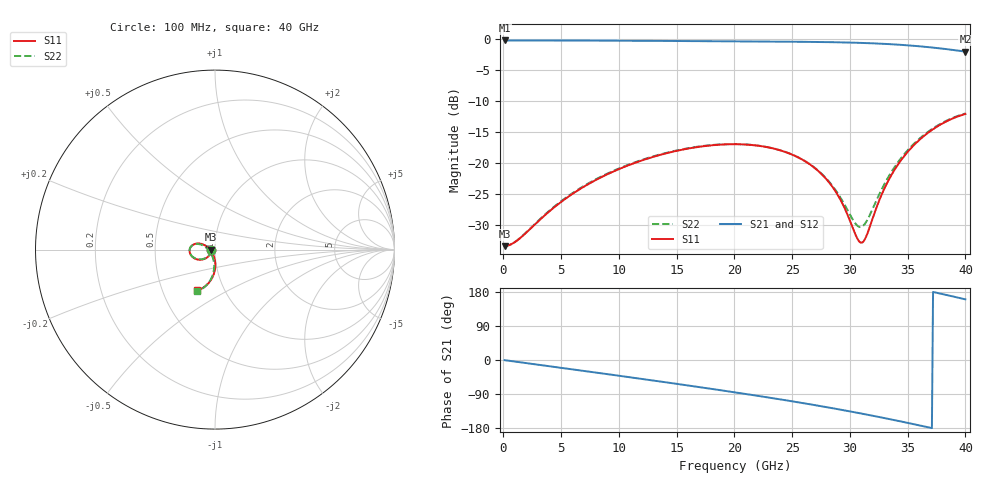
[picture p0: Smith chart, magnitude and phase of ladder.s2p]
! E_s8_L1L8_p1000_oval_g2: via ladder as kisi uses it (kisi_si::via_pbm, graded grid, junction model), differential mode (per line 50 ohm)
# Hz S RI R 50
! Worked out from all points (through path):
!   400 points, 100 MHz to 40 GHz, reference 50 ohm
!   highest |S21| = -0.19 dB at 100 MHz (marker M1); lowest = -2.0 dB at 40 GHz (marker M2)
!   group delay of S21, straight-line fit = 13.5 ps
!   lowest |S11| = -33.5 dB at 100 MHz (marker M3), VSWR 1.04, Z = 47.9 - j0.0702 ohm
!   |S11| at or under -10 dB: start of sweep to end of sweep
!   |S22| runs from -33.5 to -12.0 dB; largest |S21 - S12| = 0
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1e8  -0.0212 -0.000732  0.9788 -0.00703  0.9788 -0.00703  -0.0212 -0.000736
1.2e9  -0.022 -0.00875  0.9751 -0.0843  0.9751 -0.0843  -0.022 -0.0088
4.3e9  -0.0308 -0.0301  0.9316 -0.2979  0.9316 -0.2979  -0.0316 -0.03
6.8e9  -0.0447 -0.0443  0.8617 -0.4602  0.8617 -0.4602  -0.0466 -0.0436
9.9e9  -0.069 -0.0552  0.7345 -0.6406  0.7345 -0.6406  -0.0719 -0.0531
1.34e10  -0.1013 -0.0543  0.5432 -0.8049  0.5432 -0.8049  -0.1045 -0.0506
1.68e10  -0.1291 -0.0376  0.318 -0.913  0.318 -0.913  -0.1312 -0.033
2.01e10  -0.1414 -0.00882  0.0734 -0.9598  0.0734 -0.9598  -0.1421 -0.00549
2.38e10  -0.1254 0.0244  -0.2168 -0.9329  -0.2168 -0.9329  -0.1257 0.0242
2.67e10  -0.0886 0.0341  -0.4424 -0.8438  -0.4424 -0.8438  -0.0902 0.0307
2.87e10  -0.0552 0.0233  -0.5873 -0.7427  -0.5873 -0.7427  -0.0586 0.0182
2.95e10  -0.0417 0.0138  -0.6407 -0.6927  -0.6407 -0.6927  -0.0459 0.00828
3.04e10  -0.0275 -0.000634  -0.6963 -0.6299  -0.6963 -0.6299  -0.0325 -0.00633
3.07e10  -0.0231 -0.0063  -0.7136 -0.6075  -0.7136 -0.6075  -0.0284 -0.012
3.1e10  -0.0189 -0.0124  -0.7302 -0.5843  -0.7302 -0.5843  -0.0245 -0.0181
3.14e10  -0.0138 -0.0212  -0.7513 -0.5523  -0.7513 -0.5523  -0.0197 -0.0268
3.25e10  -0.00306 -0.0486  -0.8018 -0.4581  -0.8018 -0.4581  -0.00951 -0.0539
3.34e10  0.00139 -0.0741  -0.8338 -0.3751  -0.8338 -0.3751  -0.00524 -0.0789
3.47e10  -0.000558 -0.1135  -0.8633 -0.248  -0.8633 -0.248  -0.00682 -0.1174
3.62e10  -0.0162 -0.1582  -0.8698 -0.0954  -0.8698 -0.0954  -0.021 -0.1611
3.8e10  -0.0517 -0.2018  -0.8363 0.0863  -0.8363 0.0863  -0.0534 -0.2042
4e10  -0.1024 -0.227  -0.7469 0.2715  -0.7469 0.2715  -0.0995 -0.2306
